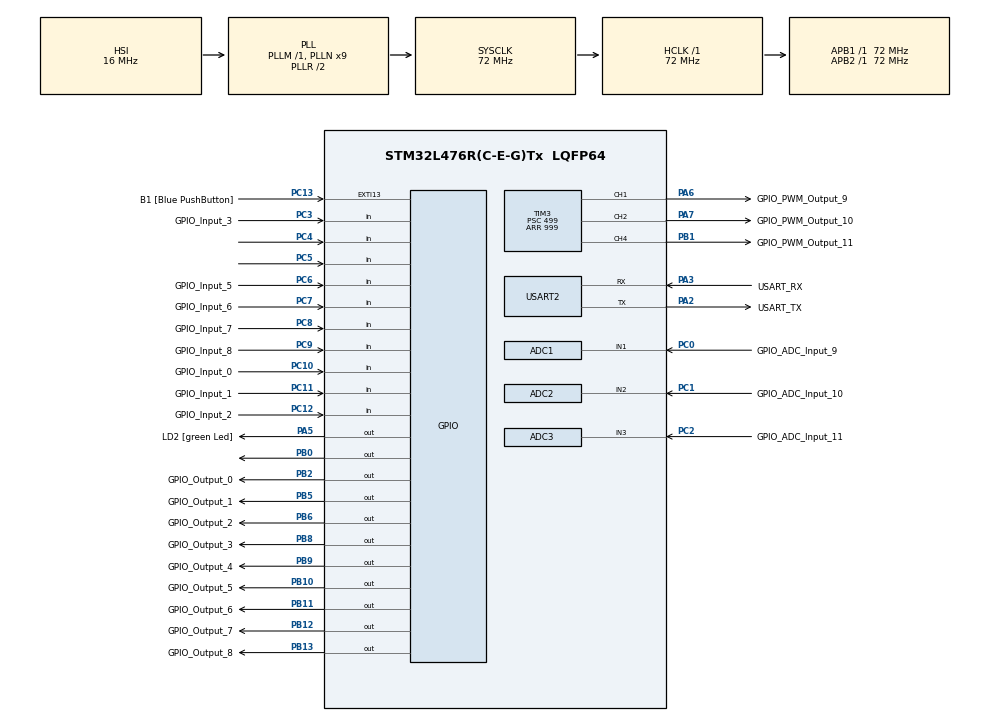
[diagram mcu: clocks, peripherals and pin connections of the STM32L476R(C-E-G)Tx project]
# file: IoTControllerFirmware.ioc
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ADC1.Channel-3\#ChannelRegularConversion=ADC_CHANNEL_1
ADC1.NbrOfConversionFlag=1
ADC1.OffsetNumber-3\#ChannelRegularConversion=ADC_OFFSET_NONE
ADC1.Rank-3\#ChannelRegularConversion=1
ADC1.SamplingTime-3\#ChannelRegularConversion=ADC_SAMPLETIME_24CYCLES_5
ADC1.master=1
ADC2.Channel-1\#ChannelRegularConversion=ADC_CHANNEL_2
ADC2.NbrOfConversionFlag=1
ADC2.OffsetNumber-1\#ChannelRegularConversion=ADC_OFFSET_NONE
ADC2.Rank-1\#ChannelRegularConversion=1
ADC2.SamplingTime-1\#ChannelRegularConversion=ADC_SAMPLETIME_24CYCLES_5
ADC3.Channel-0\#ChannelRegularConversion=ADC_CHANNEL_3
ADC3.NbrOfConversionFlag=1
ADC3.OffsetNumber-0\#ChannelRegularConversion=ADC_OFFSET_NONE
ADC3.Rank-0\#ChannelRegularConversion=1
ADC3.SamplingTime-0\#ChannelRegularConversion=ADC_SAMPLETIME_24CYCLES_5
Mcu.Family=STM32L4
Mcu.Name=STM32L476R(C-E-G)Tx
Mcu.Package=LQFP64
NVIC.PriorityGroup=NVIC_PRIORITYGROUP_4
PA13\ (JTMS-SWDIO).GPIO_Label=TMS
PA13\ (JTMS-SWDIO).Mode=Serial_Wire
PA13\ (JTMS-SWDIO).Signal=SYS_JTMS-SWDIO
PA14\ (JTCK-SWCLK).GPIO_Label=TCK
PA14\ (JTCK-SWCLK).Mode=Serial_Wire
PA14\ (JTCK-SWCLK).Signal=SYS_JTCK-SWCLK
PA2.GPIO_Label=USART_TX
PA2.GPIO_Mode=GPIO_MODE_AF_PP
PA2.GPIO_PuPd=GPIO_NOPULL
PA2.GPIO_Speed=GPIO_SPEED_FREQ_VERY_HIGH
PA2.Mode=Asynchronous
PA2.Signal=USART2_TX
PA3.GPIO_Label=USART_RX
PA3.GPIO_Mode=GPIO_MODE_AF_PP
PA3.GPIO_PuPd=GPIO_NOPULL
PA3.GPIO_Speed=GPIO_SPEED_FREQ_VERY_HIGH
PA3.Mode=Asynchronous
PA3.Signal=USART2_RX
PA5.GPIO_Label=LD2 [green Led]
PA5.GPIO_ModeDefaultOutputPP=GPIO_MODE_OUTPUT_PP
PA5.GPIO_PuPd=GPIO_NOPULL
PA5.GPIO_Speed=GPIO_SPEED_FREQ_LOW
PA5.Signal=GPIO_Output
PA6.GPIO_Label=GPIO_PWM_Output_9
PA6.Signal=S_TIM3_CH1
PA7.GPIO_Label=GPIO_PWM_Output_10
PA7.Signal=S_TIM3_CH2
PB0.Signal=GPIO_Output
PB1.GPIO_Label=GPIO_PWM_Output_11
PB1.Signal=S_TIM3_CH4
PB10.GPIO_Label=GPIO_Output_5
PB10.Signal=GPIO_Output
PB11.GPIO_Label=GPIO_Output_6
PB11.Signal=GPIO_Output
PB12.GPIO_Label=GPIO_Output_7
PB12.Signal=GPIO_Output
PB13.GPIO_Label=GPIO_Output_8
PB13.Signal=GPIO_Output
PB2.GPIO_Label=GPIO_Output_0
PB2.Signal=GPIO_Output
PB3\ (JTDO-TRACESWO).GPIO_Label=SWO
PB3\ (JTDO-TRACESWO).Signal=SYS_JTDO-SWO
PB5.GPIO_Label=GPIO_Output_1
PB5.Signal=GPIO_Output
PB6.GPIO_Label=GPIO_Output_2
PB6.Signal=GPIO_Output
PB8.GPIO_Label=GPIO_Output_3
PB8.Signal=GPIO_Output
PB9.GPIO_Label=GPIO_Output_4
PB9.Signal=GPIO_Output
PC0.GPIO_Label=GPIO_ADC_Input_9
PC0.Signal=ADCx_IN1
PC1.GPIO_Label=GPIO_ADC_Input_10
PC1.Signal=ADCx_IN2
PC10.GPIO_Label=GPIO_Input_0
PC10.Signal=GPIO_Input
PC11.GPIO_Label=GPIO_Input_1
PC11.Signal=GPIO_Input
PC12.GPIO_Label=GPIO_Input_2
PC12.Signal=GPIO_Input
PC13.GPIO_Label=B1 [Blue PushButton]
PC13.GPIO_ModeDefaultEXTI=GPIO_MODE_IT_FALLING
PC13.GPIO_PuPd=GPIO_NOPULL
PC13.Signal=GPXTI13
PC14-OSC32_IN\ (PC14).Mode=LSE-External-Oscillator
PC14-OSC32_IN\ (PC14).Signal=RCC_OSC32_IN
PC15-OSC32_OUT\ (PC15).Mode=LSE-External-Oscillator
PC15-OSC32_OUT\ (PC15).Signal=RCC_OSC32_OUT
PC2.GPIO_Label=GPIO_ADC_Input_11
PC2.Signal=ADCx_IN3
PC3.GPIO_Label=GPIO_Input_3
PC3.Signal=GPIO_Input
PC4.Signal=GPIO_Input
PC5.Signal=GPIO_Input
PC6.GPIO_Label=GPIO_Input_5
PC6.Signal=GPIO_Input
PC7.GPIO_Label=GPIO_Input_6
PC7.Signal=GPIO_Input
PC8.GPIO_Label=GPIO_Input_7
PC8.Signal=GPIO_Input
PC9.GPIO_Label=GPIO_Input_8
PC9.Signal=GPIO_Input
PH0-OSC_IN\ (PH0).Mode=HSE-External-Oscillator
PH0-OSC_IN\ (PH0).Signal=RCC_OSC_IN
PH1-OSC_OUT\ (PH1).Mode=HSE-External-Oscillator
PH1-OSC_OUT\ (PH1).Signal=RCC_OSC_OUT
ProjectManager.HeapSize=0x200
ProjectManager.StackSize=0x400
ProjectManager.TargetToolchain=STM32CubeIDE
RCC.ADCFreq_Value=64000000
RCC.AHBFreq_Value=72000000
RCC.APB1Freq_Value=72000000
RCC.APB1TimFreq_Value=72000000
RCC.APB2Freq_Value=72000000
RCC.APB2TimFreq_Value=72000000
RCC.CortexFreq_Value=72000000
RCC.HCLKFreq_Value=72000000
RCC.HSE_VALUE=8000000
RCC.HSI_VALUE=16000000
RCC.MSI_VALUE=4000000
RCC.PLLN=9
RCC.PLLSourceVirtual=RCC_PLLSOURCE_HSI
RCC.PREFETCH_ENABLE=1
RCC.SYSCLKFreq_VALUE=72000000
RCC.SYSCLKSource=RCC_SYSCLKSOURCE_PLLCLK
RCC.USBFreq_Value=64000000
RCC.VCOOutputFreq_Value=144000000
SH.ADCx_IN1.0=ADC1_IN1,IN1-Single-Ended
SH.ADCx_IN2.0=ADC2_IN2,IN2-Single-Ended
SH.ADCx_IN3.0=ADC3_IN3,IN3-Single-Ended
SH.S_TIM3_CH1.0=TIM3_CH1,PWM Generation1 CH1
SH.S_TIM3_CH2.0=TIM3_CH2,PWM Generation2 CH2
SH.S_TIM3_CH4.0=TIM3_CH4,PWM Generation4 CH4
TIM3.Channel-PWM\ Generation1\ CH1=TIM_CHANNEL_1
TIM3.Channel-PWM\ Generation2\ CH2=TIM_CHANNEL_2
TIM3.Channel-PWM\ Generation4\ CH4=TIM_CHANNEL_4
TIM3.Period=999
TIM3.Prescaler=499
USART2.VirtualMode-Asynchronous=VM_ASYNC
VP_RTC_VS_RTC_Activate.Mode=RTC_Enabled
VP_TIM3_VS_ClockSourceINT.Mode=Internal
board=NUCLEO-L476RG

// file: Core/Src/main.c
/* USER CODE BEGIN Header */
/**
  ******************************************************************************
  * @file           : main.c
  * @brief          : Main program body
  ******************************************************************************
  * @attention
  *
  * Copyright (c) 2026 STMicroelectronics.
  * All rights reserved.
  *
  * This software is licensed under terms that can be found in the LICENSE file
  * in the root directory of this software component.
  * If no LICENSE file comes with this software, it is provided AS-IS.
  *
  ******************************************************************************
  */
/* USER CODE END Header */
#include "main.h"
#include "adc.h"
#include "rtc.h"
#include "tim.h"
#include "usart.h"
#include "gpio.h"

/* USER CODE BEGIN Includes */
#include "ProMode.h"
#include "WorkMode.h"
/* USER CODE END Includes */

/* USER CODE BEGIN PV */

//This state is basically a common state after resetting

system_state_t system_state = WORKING;

/* USER CODE END PV */

void SystemClock_Config(void);
void PeriphCommonClock_Config(void);
/* USER CODE BEGIN PFP */
bool Is_Flag_On(system_state_t* presentSystemState, flashFlag_t *programming_flag);
/* USER CODE END PFP */

int main(void)
{

  /* USER CODE BEGIN 1 */

	//----------------------------------------------------------------//
	//The first structure was built!
	flashFlag_t programming_flag;
	programming_flag.bank = FLASH_BANK_2;
	programming_flag.page = 194;
	programming_flag.magicNumberAddress = FLASH_FLAG_PAGE_ADDR;
	programming_flag.flagAddress = FLASH_FLAG_PAGE_ADDR + sizeof(uint64_t);
	programming_flag.Nbpages = 1;

	//----------------------------------------------------------------//

  /* USER CODE END 1 */

  /* MCU Configuration--------------------------------------------------------*/

  /* Reset of all peripherals, Initializes the Flash interface and the Systick. */
  HAL_Init();

  /* Configure the system clock */
  SystemClock_Config();

  /* Configure the peripherals common clocks */
  PeriphCommonClock_Config();

  /* Initialize all configured peripherals */
  MX_GPIO_Init();
  MX_USART2_UART_Init();
  MX_RTC_Init();
  MX_ADC1_Init();
  MX_TIM3_Init();
  MX_ADC2_Init();
  MX_ADC3_Init();
  /* USER CODE BEGIN 2 */

  if(Is_Flag_On(&system_state, &programming_flag)){
	  Programming_Mode(&programming_flag);
  }else{
	  Working_Mode_Init();
	  Working_Mode_Start(&programming_flag);
  }

  /* USER CODE END 2 */

  /* Infinite loop */
  /* USER CODE BEGIN WHILE */

  //Right now, we want to come in here because of the working mode

  while (1)
  {
    /* USER CODE END WHILE */

  }
}

void SystemClock_Config(void)
{
  RCC_OscInitTypeDef RCC_OscInitStruct = {0};
  RCC_ClkInitTypeDef RCC_ClkInitStruct = {0};

  /** Configure the main internal regulator output voltage
  */
  if (HAL_PWREx_ControlVoltageScaling(PWR_REGULATOR_VOLTAGE_SCALE1) != HAL_OK)
  {
    Error_Handler();
  }

  /** Initializes the RCC Oscillators according to the specified parameters
  * in the RCC_OscInitTypeDef structure.
  */
  RCC_OscInitStruct.OscillatorType = RCC_OSCILLATORTYPE_HSI|RCC_OSCILLATORTYPE_LSI;
  RCC_OscInitStruct.HSIState = RCC_HSI_ON;
  RCC_OscInitStruct.HSICalibrationValue = RCC_HSICALIBRATION_DEFAULT;
  RCC_OscInitStruct.LSIState = RCC_LSI_ON;
  RCC_OscInitStruct.PLL.PLLState = RCC_PLL_ON;
  RCC_OscInitStruct.PLL.PLLSource = RCC_PLLSOURCE_HSI;
  RCC_OscInitStruct.PLL.PLLM = 1;
  RCC_OscInitStruct.PLL.PLLN = 9;
  RCC_OscInitStruct.PLL.PLLP = RCC_PLLP_DIV7;
  RCC_OscInitStruct.PLL.PLLQ = RCC_PLLQ_DIV2;
  RCC_OscInitStruct.PLL.PLLR = RCC_PLLR_DIV2;
  if (HAL_RCC_OscConfig(&RCC_OscInitStruct) != HAL_OK)
  {
    Error_Handler();
  }

  /** Initializes the CPU, AHB and APB buses clocks
  */
  RCC_ClkInitStruct.ClockType = RCC_CLOCKTYPE_HCLK|RCC_CLOCKTYPE_SYSCLK
                              |RCC_CLOCKTYPE_PCLK1|RCC_CLOCKTYPE_PCLK2;
  RCC_ClkInitStruct.SYSCLKSource = RCC_SYSCLKSOURCE_PLLCLK;
  RCC_ClkInitStruct.AHBCLKDivider = RCC_SYSCLK_DIV1;
  RCC_ClkInitStruct.APB1CLKDivider = RCC_HCLK_DIV1;
  RCC_ClkInitStruct.APB2CLKDivider = RCC_HCLK_DIV1;

  if (HAL_RCC_ClockConfig(&RCC_ClkInitStruct, FLASH_LATENCY_4) != HAL_OK)
  {
    Error_Handler();
  }
}

void PeriphCommonClock_Config(void)
{
  RCC_PeriphCLKInitTypeDef PeriphClkInit = {0};

  /** Initializes the peripherals clock
  */
  PeriphClkInit.PeriphClockSelection = RCC_PERIPHCLK_ADC;
  PeriphClkInit.AdcClockSelection = RCC_ADCCLKSOURCE_PLLSAI1;
  PeriphClkInit.PLLSAI1.PLLSAI1Source = RCC_PLLSOURCE_HSI;
  PeriphClkInit.PLLSAI1.PLLSAI1M = 1;
  PeriphClkInit.PLLSAI1.PLLSAI1N = 8;
  PeriphClkInit.PLLSAI1.PLLSAI1P = RCC_PLLP_DIV7;
  PeriphClkInit.PLLSAI1.PLLSAI1Q = RCC_PLLQ_DIV2;
  PeriphClkInit.PLLSAI1.PLLSAI1R = RCC_PLLR_DIV2;
  PeriphClkInit.PLLSAI1.PLLSAI1ClockOut = RCC_PLLSAI1_ADC1CLK;
  if (HAL_RCCEx_PeriphCLKConfig(&PeriphClkInit) != HAL_OK)
  {
    Error_Handler();
  }
}

/* USER CODE BEGIN 4 */
bool Is_Flag_On(system_state_t* presentSystemState, flashFlag_t *programming_flag){

	if(*presentSystemState != WORKING){

		*presentSystemState = WORKING;
		return false;

	}else{
		uint64_t magicNumber = *((uint64_t *)programming_flag->magicNumberAddress);
		uint64_t flagState = *((uint64_t *)programming_flag->flagAddress);
		if(magicNumber == PROGRAMMING_FLAG_MAGIC_NUMBER){
			if(flagState == PROGRAMMING_FLAG_IS_ON){
				*presentSystemState = PROGRAMMING;
				return true;

			}

		}
		*presentSystemState = WORKING;
		return false;

	}
}

uint32_t SetFlag(flashFlag_t *programming_flag, bool state){

	uint64_t flagValue = (state==true?PROGRAMMING_FLAG_IS_ON:PROGRAMMING_FLAG_IS_OFF);

	HAL_FLASH_Unlock();
	if(state != true){
		FLASH_EraseInitTypeDef EraseInitStruct;
		uint32_t PAGEError;
		EraseInitStruct.Banks = programming_flag->bank;
		EraseInitStruct.TypeErase = FLASH_TYPEERASE_PAGES;
		EraseInitStruct.Page = programming_flag->page;
		EraseInitStruct.NbPages = programming_flag->Nbpages;

		if (HAL_FLASHEx_Erase(&EraseInitStruct, &PAGEError) != HAL_OK)
		{
			/*Error occurred while page erase.*/
			return HAL_FLASH_GetError();
		}
	}

	HAL_FLASH_Program(FLASH_TYPEPROGRAM_DOUBLEWORD, programming_flag->flagAddress,flagValue);
	HAL_FLASH_Program(FLASH_TYPEPROGRAM_DOUBLEWORD, programming_flag->magicNumberAddress,PROGRAMMING_FLAG_MAGIC_NUMBER);
	HAL_FLASH_Lock();

	return 0xFFFFFFFF;

}

uint32_t Get_Line_First_Addr(int NbLine){
	int multiplicator = NbLine * 10;

	return FLASH_CONFIG_DATA_FIRST_ADDR + sizeof(uint64_t)*multiplicator;

}

uint32_t Get_Next_Addr_In_Line(int NbElement, const uint32_t* LineAddr){
	int multiplicator = NbElement;

	return LineAddr + sizeof(uint64_t)*multiplicator;

}
/* USER CODE END 4 */

void Error_Handler(void)
{
  __disable_irq();
  while (1)
  {
  }
}
